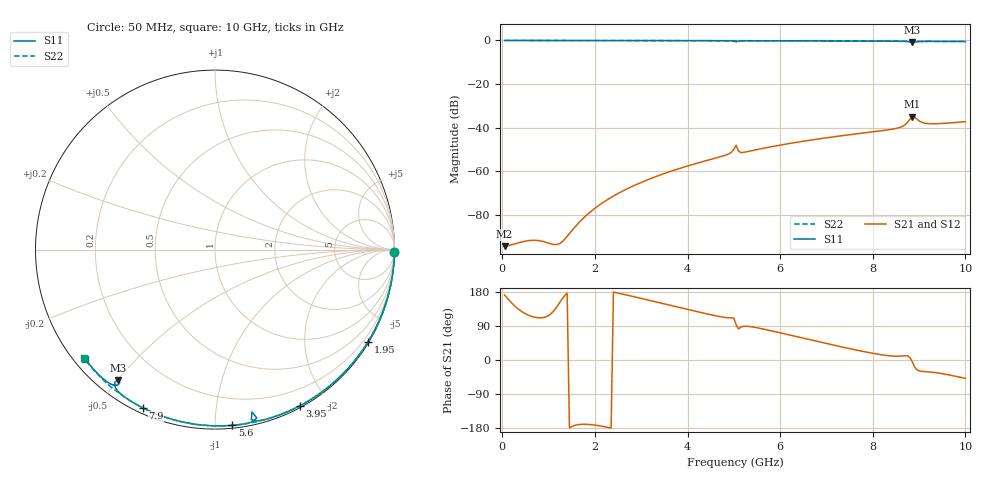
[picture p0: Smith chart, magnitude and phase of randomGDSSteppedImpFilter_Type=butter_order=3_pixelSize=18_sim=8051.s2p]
! freq	dB(S11)	phase(S11)	dB(S12)	phase(S12)
!  dB(S21)	phase(S21)	dB(S22)	phase(S22)
!S-par simulation data
#  GHz  S  DB  R 50
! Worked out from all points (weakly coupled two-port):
!   200 points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, 50 MHz to 10 GHz, reference 50 ohm
!   highest |S21| = -34.99 dB at 8.85 GHz (marker M1); lowest = -94.4 dB at 50 MHz (marker M2)
!   lowest |S11| = -0.9 dB at 8.85 GHz (marker M3), VSWR 20.30, Z = 3.09 - j25.1 ohm
!   |S11| at or under -10 dB: nowhere
!   |S22| runs from -0.5 to 0.0 dB; largest |S21 - S12| = 0
!   S11 on the Smith chart (normalised r, x): 50 MHz: open; 1.95 GHz: 0.03, -3.58; 3.95 GHz: 0.02, -1.68; 5.6 GHz: 0.02, -1.10; 7.9 GHz: 0.02, -0.64; 10 GHz: 0.03, -0.37
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0.05  -0.00 -0.8  -94.39 171.6  -94.39 171.6  -0.00 -0.8
1.75  -0.04 -28.1  -81.55 -169.6  -81.55 -169.6  -0.04 -28.0
1.85  -0.04 -29.6  -79.61 -170.0  -79.61 -170.0  -0.04 -29.6
1.95  -0.04 -31.2  -77.83 -171.1  -77.83 -171.1  -0.04 -31.1
2.55  -0.05 -40.5  -69.63 175.2  -69.63 175.2  -0.05 -40.4
3.4  -0.07 -53.3  -61.80 150.9  -61.80 150.9  -0.07 -53.3
3.95  -0.08 -61.5  -57.93 134.9  -57.93 134.9  -0.08 -61.4
4.85  -0.13 -74.8  -52.41 111.7  -52.41 111.7  -0.11 -74.2
4.95  -0.17 -76.7  -51.28 111.3  -51.28 111.3  -0.11 -75.6
5.05  -0.65 -77.2  -48.05 93.0  -48.05 93.0  -0.12 -77.0
5.1  -0.30 -76.1  -50.69 82.0  -50.69 82.0  -0.12 -77.7
5.15  -0.18 -77.3  -51.44 86.7  -51.44 86.7  -0.12 -78.4
5.6  -0.14 -84.3  -49.63 82.6  -49.63 82.6  -0.14 -84.6
6.7  -0.19 -99.1  -45.59 51.8  -45.59 51.8  -0.19 -99.2
7.9  -0.27 -114.5  -42.19 20.0  -42.19 20.0  -0.27 -114.5
8.35  -0.32 -120.4  -40.96 11.1  -40.96 11.1  -0.31 -120.1
8.65  -0.40 -124.8  -39.33 10.8  -39.33 10.8  -0.34 -123.8
8.85  -0.86 -126.5  -34.99 -3.8  -34.99 -3.8  -0.35 -126.3
8.9  -0.80 -125.6  -35.08 -17.4  -35.08 -17.4  -0.35 -126.9
9.05  -0.49 -127.2  -37.48 -29.9  -37.48 -29.9  -0.37 -128.8
9.2  -0.44 -129.4  -38.16 -31.2  -38.16 -31.2  -0.39 -130.7
10  -0.48 -139.8  -37.27 -48.5  -37.27 -48.5  -0.47 -140.6
